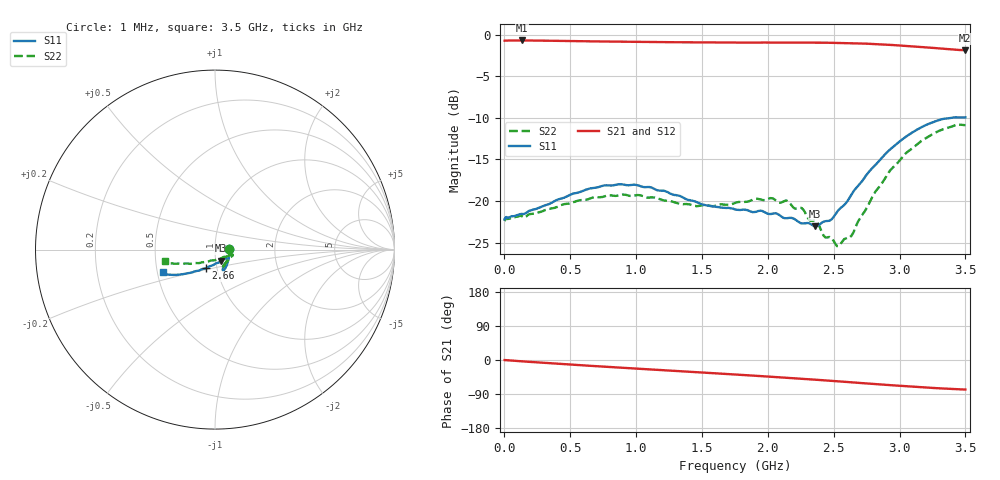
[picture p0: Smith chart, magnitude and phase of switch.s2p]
! Created with skrf (http://scikit-rf.org).
# Hz S RI R 50.0
!freq ReS11 ImS11 ReS21 ImS21 ReS12 ImS12 ReS22 ImS22
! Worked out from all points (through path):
!   708 points, 1 MHz to 3.5 GHz, reference 50 ohm
!   highest |S21| = -0.71 dB at 130 MHz (marker M1); lowest = -1.9 dB at 3.495 GHz (marker M2)
!   group delay of S21, straight-line fit = 61.9 ps
!   lowest |S11| = -23.1 dB at 2.36 GHz (marker M3), VSWR 1.15, Z = 53.1 - j6.56 ohm
!   |S11| at or under -10 dB: start of sweep to 3.399 GHz
!   |S22| runs from -25.4 to -10.8 dB; largest |S21 - S12| = 0.0014
!   S11 on the Smith chart (normalised r, x): 1 MHz: 1.17, +0.00; 2.66 GHz: 0.88, -0.19; 3.5 GHz: 0.53, -0.15
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1000000  0.0775 0.00113  0.9185 -0.00166  0.9183 -0.000886  0.0756 0.00133
1.3e8  0.08 -0.0241  0.9196 -0.0554  0.9196 -0.0549  0.0781 -0.0218
5.85e8  0.0601 -0.0968  0.8853 -0.219  0.8854 -0.2184  0.055 -0.0849
8.8e8  0.0467 -0.117  0.8494 -0.312  0.8499 -0.3114  0.0399 -0.1008
1.17e9  0.0442 -0.1068  0.808 -0.3972  0.8085 -0.3969  0.0447 -0.0929
1.46e9  0.0556 -0.0812  0.7593 -0.4784  0.7594 -0.4785  0.063 -0.0683
1.755e9  0.0708 -0.0535  0.7014 -0.5558  0.7023 -0.5555  0.0877 -0.0432
2.025e9  0.0729 -0.0404  0.6409 -0.6242  0.6412 -0.6241  0.0994 -0.0304
2.145e9  0.0663 -0.0425  0.6104 -0.6534  0.6107 -0.6533  0.0951 -0.0315
2.26e9  0.0528 -0.0507  0.5797 -0.6806  0.5798 -0.6808  0.0832 -0.0347
2.335e9  0.0386 -0.0605  0.5584 -0.6982  0.5585 -0.6978  0.0652 -0.0386
2.36e9  0.0342 -0.0615  0.5509 -0.7037  0.5513 -0.7032  0.0637 -0.0415
2.43e9  0.018 -0.0732  0.529 -0.7197  0.5297 -0.7192  0.0438 -0.0427
2.48e9  0.00482 -0.0768  0.5126 -0.7305  0.5135 -0.7295  0.0336 -0.0499
2.53e9  -0.00974 -0.0863  0.4958 -0.7405  0.4965 -0.74  0.0172 -0.0508
2.63e9  -0.0411 -0.0994  0.4603 -0.7592  0.4613 -0.7586  -0.0137 -0.0594
2.66e9  -0.0526 -0.1042  0.449 -0.7641  0.45 -0.7636  -0.0268 -0.0624
2.92e9  -0.1522 -0.1315  0.3504 -0.7931  0.3504 -0.7933  -0.1274 -0.0774
3.18e9  -0.2425 -0.1413  0.2562 -0.7992  0.256 -0.7997  -0.2194 -0.0792
3.33e9  -0.2806 -0.134  0.2091 -0.7947  0.2085 -0.7949  -0.2588 -0.0761
3.495e9  -0.2908 -0.1268  0.1692 -0.7874  0.1692 -0.7869  -0.2786 -0.0619
3.5e9  -0.2911 -0.1273  0.1685 -0.7877  0.1684 -0.7869  -0.2788 -0.0609
